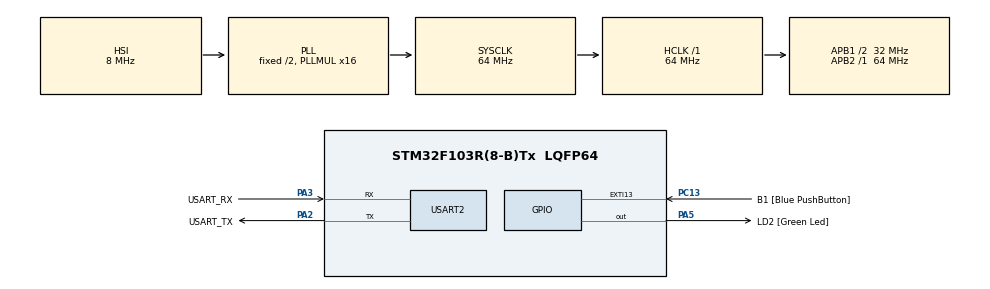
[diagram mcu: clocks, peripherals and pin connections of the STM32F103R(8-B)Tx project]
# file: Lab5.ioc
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FREERTOS.Queues01=periodQueue,8,uint16_t,0,Dynamic,NULL,NULL
FREERTOS.Tasks01=blinkLED,32,128,StartblinkLED,Default,NULL,Dynamic,NULL,NULL;CLIReceive,24,128,StartCLIReceive,Default,NULL,Dynamic,NULL,NULL;CLIUpdate,8,128,StartCLIUpdate,Default,NULL,Dynamic,NULL,NULL
Mcu.Family=STM32F1
Mcu.Name=STM32F103R(8-B)Tx
Mcu.Package=LQFP64
NVIC.EXTI15_10_IRQn=true\:5\:0\:false\:false\:true\:true\:true\:true\:true
NVIC.PriorityGroup=NVIC_PRIORITYGROUP_4
NVIC.TIM4_IRQn=true\:15\:0\:false\:false\:true\:false\:false\:true\:true
NVIC.TimeBase=TIM4_IRQn
NVIC.TimeBaseIP=TIM4
PA13.GPIO_Label=TMS
PA13.Mode=Serial_Wire
PA13.Signal=SYS_JTMS-SWDIO
PA14.GPIO_Label=TCK
PA14.Mode=Serial_Wire
PA14.Signal=SYS_JTCK-SWCLK
PA2.GPIO_Label=USART_TX
PA2.GPIO_Mode=GPIO_MODE_AF_PP
PA2.GPIO_PuPd=GPIO_NOPULL
PA2.GPIO_Speed=GPIO_SPEED_FREQ_LOW
PA2.Mode=Asynchronous
PA2.Signal=USART2_TX
PA3.GPIO_Label=USART_RX
PA3.GPIO_Mode=GPIO_MODE_AF_PP
PA3.GPIO_PuPd=GPIO_NOPULL
PA3.GPIO_Speed=GPIO_SPEED_FREQ_LOW
PA3.Mode=Asynchronous
PA3.Signal=USART2_RX
PA5.GPIO_Label=LD2 [Green Led]
PA5.GPIO_ModeDefaultOutputPP=GPIO_MODE_OUTPUT_PP
PA5.GPIO_PuPd=GPIO_NOPULL
PA5.GPIO_Speed=GPIO_SPEED_FREQ_LOW
PA5.Signal=GPIO_Output
PB3.GPIO_Label=SWO
PB3.Signal=SYS_JTDO-TRACESWO
PC13-TAMPER-RTC.GPIO_Label=B1 [Blue PushButton]
PC13-TAMPER-RTC.GPIO_PuPd=GPIO_NOPULL
PC13-TAMPER-RTC.Signal=GPXTI13
PC14-OSC32_IN.Mode=LSE-External-Oscillator
PC14-OSC32_IN.Signal=RCC_OSC32_IN
PC15-OSC32_OUT.Mode=LSE-External-Oscillator
PC15-OSC32_OUT.Signal=RCC_OSC32_OUT
PD0-OSC_IN.Mode=HSE-External-Clock-Source
PD0-OSC_IN.Signal=RCC_OSC_IN
PD1-OSC_OUT.Mode=HSE-External-Clock-Source
PD1-OSC_OUT.Signal=RCC_OSC_OUT
ProjectManager.HeapSize=0x200
ProjectManager.StackSize=0x400
ProjectManager.TargetToolchain=STM32CubeIDE
RCC.AHBFreq_Value=64000000
RCC.APB1CLKDivider=RCC_HCLK_DIV2
RCC.APB1Freq_Value=32000000
RCC.APB1TimFreq_Value=64000000
RCC.APB2Freq_Value=64000000
RCC.APB2TimFreq_Value=64000000
RCC.HCLKFreq_Value=64000000
RCC.PLLMUL=RCC_PLL_MUL16
RCC.RTCClockSelection=RCC_RTCCLKSOURCE_LSE
RCC.SYSCLKFreq_VALUE=64000000
RCC.SYSCLKSource=RCC_SYSCLKSOURCE_PLLCLK
RCC.USBFreq_Value=64000000
USART2.VirtualMode=VM_ASYNC
VP_FREERTOS_VS_CMSIS_V2.Mode=CMSIS_V2
VP_SYS_VS_tim4.Mode=TIM4
board=NUCLEO-F103RB

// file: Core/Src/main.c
/* USER CODE BEGIN Header */
/**
  ******************************************************************************
  * @file           : main.c
  * @brief          : Main program body
  ******************************************************************************
  * @attention
  *
  * Copyright (c) 2024 STMicroelectronics.
  * All rights reserved.
  *
  * This software is licensed under terms that can be found in the LICENSE file
  * in the root directory of this software component.
  * If no LICENSE file comes with this software, it is provided AS-IS.
  *
  ******************************************************************************
  */
/* USER CODE END Header */
#include "main.h"
#include "cmsis_os.h"

UART_HandleTypeDef huart2;

/* Definitions for blinkLED */
osThreadId_t blinkLEDHandle;
const osThreadAttr_t blinkLED_attributes = {
  .name = "blinkLED",
  .stack_size = 128 * 4,
  .priority = (osPriority_t) osPriorityAboveNormal,
};
/* Definitions for CLIReceive */
osThreadId_t CLIReceiveHandle;
const osThreadAttr_t CLIReceive_attributes = {
  .name = "CLIReceive",
  .stack_size = 128 * 4,
  .priority = (osPriority_t) osPriorityNormal,
};
/* Definitions for CLIUpdate */
osThreadId_t CLIUpdateHandle;
const osThreadAttr_t CLIUpdate_attributes = {
  .name = "CLIUpdate",
  .stack_size = 128 * 4,
  .priority = (osPriority_t) osPriorityLow,
};
/* Definitions for periodQueue */
osMessageQueueId_t periodQueueHandle;
const osMessageQueueAttr_t periodQueue_attributes = {
  .name = "periodQueue"
};
/* USER CODE BEGIN PV */

uint8_t cliRXChar[1];
uint8_t cliBufferRX[30];
int counter = 0;
uint16_t newPeriod = 0;
char newLineMessage[] = "Enter a command: ";
uint16_t period = 500;
/* USER CODE END PV */

void SystemClock_Config(void);
static void MX_GPIO_Init(void);
static void MX_USART2_UART_Init(void);
void StartblinkLED(void *argument);
void StartCLIReceive(void *argument);
void StartCLIUpdate(void *argument);

int main(void)
{

  /* MCU Configuration--------------------------------------------------------*/

  /* Reset of all peripherals, Initializes the Flash interface and the Systick. */
  HAL_Init();

  /* Configure the system clock */
  SystemClock_Config();

  /* Initialize all configured peripherals */
  MX_GPIO_Init();
  MX_USART2_UART_Init();
  /* USER CODE BEGIN 2 */
    char periodMessage[] = "Period ";
	char newLineMessage[] = "Enter a command: ";
	char scrollBox[] = "\x1b[5;r";
	char initialMoveCursor[] = "\x1b[5;0H";
	char topMoveCursor[] = "\x1b[0;9H";
	char saveCursor[] = "\x1b[s";
	char restoreCursor[] = "\x1b[u";
	char charPeriodCounter[4];
	for(int x = 0; x < sizeof periodMessage; x++)
	  HAL_UART_Transmit(&huart2, (unsigned char *)&periodMessage[x], 1, 100);
	sprintf (charPeriodCounter, "%d", period);
	for(int x = 0; x < sizeof charPeriodCounter; x++)
		  HAL_UART_Transmit(&huart2, (unsigned char *)&charPeriodCounter[x], 1, 100);
	for(int x = 0; x < sizeof scrollBox; x++)
	  HAL_UART_Transmit(&huart2, (unsigned char *)&scrollBox[x], 1, 100);
	for(int x = 0; x < sizeof initialMoveCursor; x++)
	  HAL_UART_Transmit(&huart2, (unsigned char *)&initialMoveCursor[x], 1, 100);
	for(int x = 0; x < sizeof newLineMessage; x++)
		  HAL_UART_Transmit(&huart2, (unsigned char *)&newLineMessage[x], 1, 100);
  /* USER CODE END 2 */

  /* Init scheduler */
  osKernelInitialize();

  /* Create the queue(s) */
  /* creation of periodQueue */
  periodQueueHandle = osMessageQueueNew (8, sizeof(uint16_t), &periodQueue_attributes);

  /* Create the thread(s) */
  /* creation of blinkLED */
  blinkLEDHandle = osThreadNew(StartblinkLED, NULL, &blinkLED_attributes);

  /* creation of CLIReceive */
  CLIReceiveHandle = osThreadNew(StartCLIReceive, NULL, &CLIReceive_attributes);

  /* creation of CLIUpdate */
  CLIUpdateHandle = osThreadNew(StartCLIUpdate, NULL, &CLIUpdate_attributes);

  /* Start scheduler */
  osKernelStart();

  /* We should never get here as control is now taken by the scheduler */

  /* Infinite loop */
  while (1)
  {

  }
}

void SystemClock_Config(void)
{
  RCC_OscInitTypeDef RCC_OscInitStruct = {0};
  RCC_ClkInitTypeDef RCC_ClkInitStruct = {0};

  /** Initializes the RCC Oscillators according to the specified parameters
  * in the RCC_OscInitTypeDef structure.
  */
  RCC_OscInitStruct.OscillatorType = RCC_OSCILLATORTYPE_HSI;
  RCC_OscInitStruct.HSIState = RCC_HSI_ON;
  RCC_OscInitStruct.HSICalibrationValue = RCC_HSICALIBRATION_DEFAULT;
  RCC_OscInitStruct.PLL.PLLState = RCC_PLL_ON;
  RCC_OscInitStruct.PLL.PLLSource = RCC_PLLSOURCE_HSI_DIV2;
  RCC_OscInitStruct.PLL.PLLMUL = RCC_PLL_MUL16;
  if (HAL_RCC_OscConfig(&RCC_OscInitStruct) != HAL_OK)
  {
    Error_Handler();
  }

  /** Initializes the CPU, AHB and APB buses clocks
  */
  RCC_ClkInitStruct.ClockType = RCC_CLOCKTYPE_HCLK|RCC_CLOCKTYPE_SYSCLK
                              |RCC_CLOCKTYPE_PCLK1|RCC_CLOCKTYPE_PCLK2;
  RCC_ClkInitStruct.SYSCLKSource = RCC_SYSCLKSOURCE_PLLCLK;
  RCC_ClkInitStruct.AHBCLKDivider = RCC_SYSCLK_DIV1;
  RCC_ClkInitStruct.APB1CLKDivider = RCC_HCLK_DIV2;
  RCC_ClkInitStruct.APB2CLKDivider = RCC_HCLK_DIV1;

  if (HAL_RCC_ClockConfig(&RCC_ClkInitStruct, FLASH_LATENCY_2) != HAL_OK)
  {
    Error_Handler();
  }
}

static void MX_USART2_UART_Init(void)
{

  huart2.Instance = USART2;
  huart2.Init.BaudRate = 115200;
  huart2.Init.WordLength = UART_WORDLENGTH_8B;
  huart2.Init.StopBits = UART_STOPBITS_1;
  huart2.Init.Parity = UART_PARITY_NONE;
  huart2.Init.Mode = UART_MODE_TX_RX;
  huart2.Init.HwFlowCtl = UART_HWCONTROL_NONE;
  huart2.Init.OverSampling = UART_OVERSAMPLING_16;
  if (HAL_UART_Init(&huart2) != HAL_OK)
  {
    Error_Handler();
  }

}

static void MX_GPIO_Init(void)
{
  GPIO_InitTypeDef GPIO_InitStruct = {0};

  /* GPIO Ports Clock Enable */
  __HAL_RCC_GPIOC_CLK_ENABLE();
  __HAL_RCC_GPIOD_CLK_ENABLE();
  __HAL_RCC_GPIOA_CLK_ENABLE();
  __HAL_RCC_GPIOB_CLK_ENABLE();

  /*Configure GPIO pin Output Level */
  HAL_GPIO_WritePin(LD2_GPIO_Port, LD2_Pin, GPIO_PIN_RESET);

  /*Configure GPIO pin : B1_Pin */
  GPIO_InitStruct.Pin = B1_Pin;
  GPIO_InitStruct.Mode = GPIO_MODE_IT_RISING;
  GPIO_InitStruct.Pull = GPIO_NOPULL;
  HAL_GPIO_Init(B1_GPIO_Port, &GPIO_InitStruct);

  /*Configure GPIO pin : LD2_Pin */
  GPIO_InitStruct.Pin = LD2_Pin;
  GPIO_InitStruct.Mode = GPIO_MODE_OUTPUT_PP;
  GPIO_InitStruct.Pull = GPIO_NOPULL;
  GPIO_InitStruct.Speed = GPIO_SPEED_FREQ_LOW;
  HAL_GPIO_Init(LD2_GPIO_Port, &GPIO_InitStruct);

  /* EXTI interrupt init*/
  HAL_NVIC_SetPriority(EXTI15_10_IRQn, 5, 0);
  HAL_NVIC_EnableIRQ(EXTI15_10_IRQn);

}

void StartblinkLED(void *argument)
{
  /* USER CODE BEGIN 5 */
  /* Infinite loop */
  for(;;)
  {
	osMessageQueueGet(periodQueueHandle, &period, NULL, 200);
	HAL_GPIO_TogglePin(GPIOA, GPIO_PIN_5);
    osDelay(period);
  }

  osThreadTerminate(NULL);
  /* USER CODE END 5 */
}

void StartCLIReceive(void *argument)
{
  /* USER CODE BEGIN StartCLIReceive */
  /* Infinite loop */
  for(;;)
  {
	  newPeriod = CLI_Receive();
	  if (newPeriod != 0)
		  osMessageQueuePut(periodQueueHandle, &newPeriod, 0, 500);
	  osDelay(200);
  }

  osThreadTerminate(NULL);
  /* USER CODE END StartCLIReceive */
}

void StartCLIUpdate(void *argument)
{
  /* USER CODE BEGIN StartCLIUpdate */
  /* Infinite loop */
  for(;;)
  {
	CLI_Display(period);
    osDelay(300);
  }
  /* USER CODE END StartCLIUpdate */
}

void HAL_TIM_PeriodElapsedCallback(TIM_HandleTypeDef *htim)
{
  if (htim->Instance == TIM4) {
    HAL_IncTick();
  }
}

void Error_Handler(void)
{
  __disable_irq();
  while (1)
  {
  }
}
